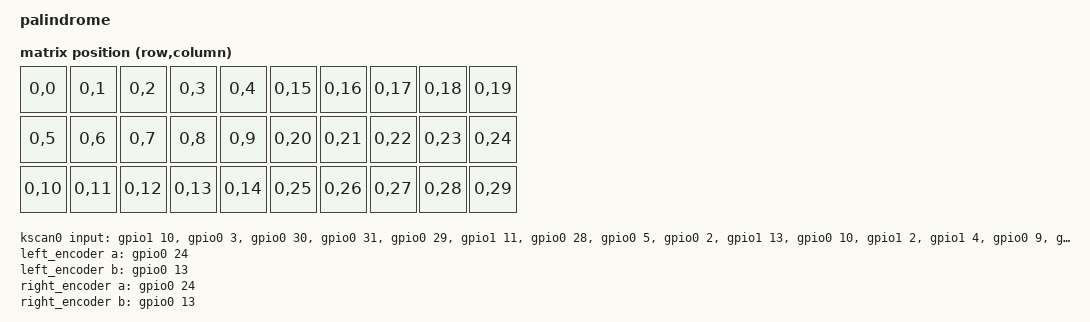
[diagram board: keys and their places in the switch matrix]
/*
 * Copyright (c) 2026 Brandon Beltran
 *
 * SPDX-License-Identifier: MIT
 */

/dts-v1/;

#include <nordic/nrf52840_qiaa.dtsi>
#include "palindrome-layout.dtsi"
#include <dt-bindings/zmk/matrix_transform.h>

/ {
    model = "palindrome";
    compatible = "quarkworks,palindrome";

    chosen {
        zephyr,code-partition = &code_partition;
        zephyr,sram = &sram0;
        zephyr,flash = &flash0;
        zmk,kscan = &kscan0;
        zmk,battery = &vbatt;
    };

    default_transform: keymap_transform_0 {
        compatible = "zmk,matrix-transform";
        columns = <30>;
        rows = <1>;
        map = <
            RC(0,0)  RC(0,1)  RC(0,2)  RC(0,3)  RC(0,4)  RC(0, 15) RC(0, 16) RC(0, 17) RC(0, 18) RC(0, 19)
            RC(0,5)  RC(0,6)  RC(0,7)  RC(0,8)  RC(0,9)  RC(0, 20) RC(0, 21) RC(0, 22) RC(0, 23) RC(0, 24)
            RC(0,10) RC(0,11) RC(0,12) RC(0,13) RC(0,14) RC(0, 25) RC(0, 26) RC(0, 27) RC(0, 28) RC(0, 29)
            >;
    };

    kscan0: kscan {
        compatible = "zmk,kscan-gpio-direct";
        wakeup-source;

        input-gpios
            = <&gpio1 10 (GPIO_ACTIVE_LOW | GPIO_PULL_UP)>
            , <&gpio0  3 (GPIO_ACTIVE_LOW | GPIO_PULL_UP)>
            , <&gpio0 30 (GPIO_ACTIVE_LOW | GPIO_PULL_UP)>
            , <&gpio0 31 (GPIO_ACTIVE_LOW | GPIO_PULL_UP)>
            , <&gpio0 29 (GPIO_ACTIVE_LOW | GPIO_PULL_UP)>

            , <&gpio1 11 (GPIO_ACTIVE_LOW | GPIO_PULL_UP)>
            , <&gpio0 28 (GPIO_ACTIVE_LOW | GPIO_PULL_UP)>
            , <&gpio0  5 (GPIO_ACTIVE_LOW | GPIO_PULL_UP)>
            , <&gpio0  2 (GPIO_ACTIVE_LOW | GPIO_PULL_UP)>
            , <&gpio1 13 (GPIO_ACTIVE_LOW | GPIO_PULL_UP)>

            , <&gpio0 10 (GPIO_ACTIVE_LOW | GPIO_PULL_UP)>
            , <&gpio1  2 (GPIO_ACTIVE_LOW | GPIO_PULL_UP)>
            , <&gpio1  4 (GPIO_ACTIVE_LOW | GPIO_PULL_UP)>
            , <&gpio0  9 (GPIO_ACTIVE_LOW | GPIO_PULL_UP)>
            , <&gpio1  6 (GPIO_ACTIVE_LOW | GPIO_PULL_UP)>
            ;
    };

    vbatt: vbatt {
        compatible = "zmk,battery-nrf-vddh";
    };

    left_encoder: encoder_left {
        compatible = "alps,ec11";
        a-gpios = <&gpio0 24 (GPIO_ACTIVE_HIGH | GPIO_PULL_UP)>;
        b-gpios = <&gpio0 13 (GPIO_ACTIVE_HIGH | GPIO_PULL_UP)>;
        steps = <80>;
        status = "disabled";
    };

    right_encoder: encoder_right {
        compatible = "alps,ec11";
        a-gpios = <&gpio0 24 (GPIO_ACTIVE_HIGH | GPIO_PULL_UP)>;
        b-gpios = <&gpio0 13 (GPIO_ACTIVE_HIGH | GPIO_PULL_UP)>;
        steps = <80>;
        status = "disabled";
    };

    sensors: sensors {
        compatible = "zmk,keymap-sensors";
        sensors = <&left_encoder &right_encoder>;
        triggers-per-rotation = <20>;
    };


};

&adc {
    status = "okay";
};

zephyr_udc0: &usbd {
    status = "okay";
};

&gpiote {
    status = "okay";
};

&gpio0 {
    status = "okay";
};

&gpio1 {
    status = "okay";
};


&flash0 {
    status = "okay";
    /*
     * For more information, see:
     * http://docs.zephyrproject.org/latest/devices/dts/flash_partitions.html
     */
    partitions {
        compatible = "fixed-partitions";
        #address-cells = <1>;
        #size-cells = <1>;

        sd_partition: partition@0 {
            label = "softdevice";
            reg = <0x00000000 0x00026000>;
        };
        code_partition: partition@26000 {
            label = "code_partition";
            reg = <0x00026000 0x000c6000>;
        };

        /*
         * The flash starting at 0x000ec000 and ending at
         * 0x000f3fff is reserved for use by the application.
         */

        /*
         * Storage partition will be used by FCB/LittleFS/NVS
         * if enabled.
         */
        storage_partition: partition@ec000 {
            label = "storage";
            reg = <0x000ec000 0x00008000>;
        };

        boot_partition: partition@f4000 {
            label = "adafruit_boot";
            reg = <0x000f4000 0x0000c000>;
        };
    };
};
